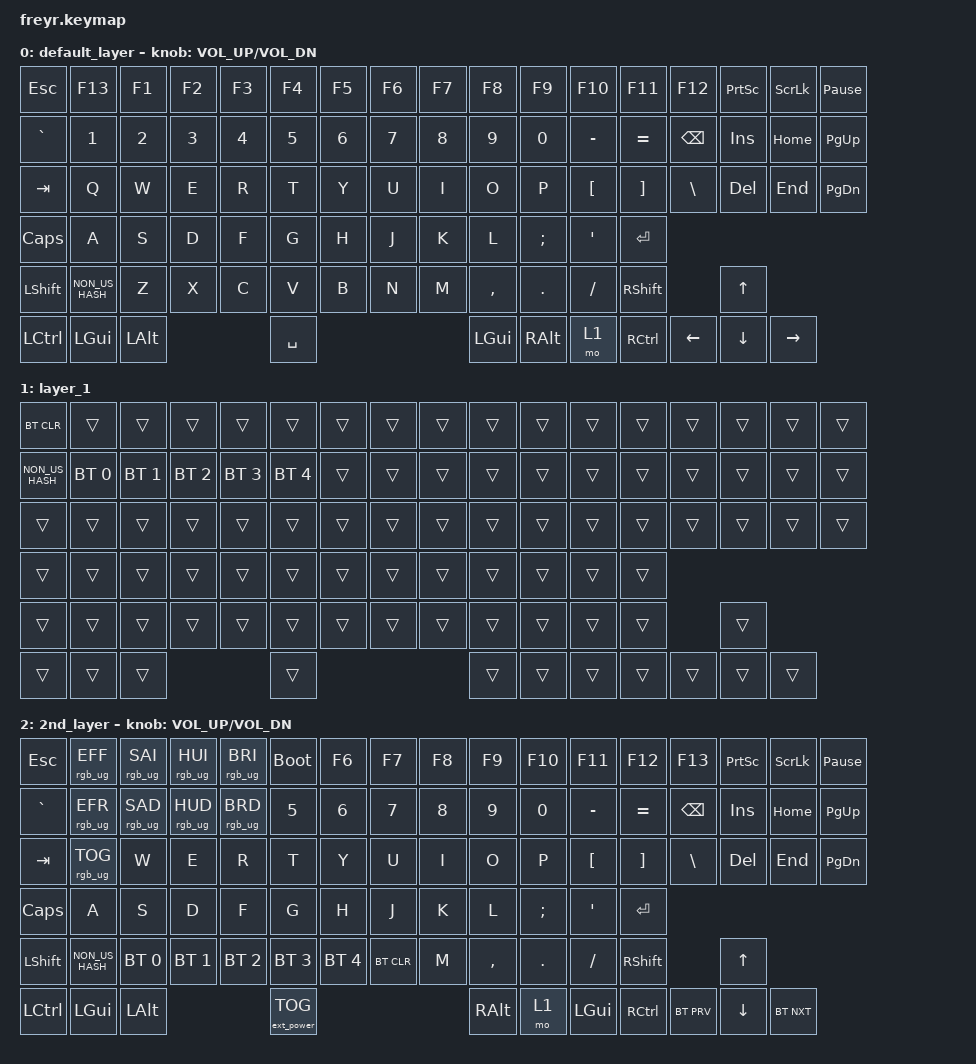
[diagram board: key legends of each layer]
/*
 * Copyright (c) 2021 Nick Winans
 *
 * SPDX-License-Identifier: MIT
 */

#include <behaviors.dtsi>
#include <dt-bindings/zmk/keys.h>
#include <dt-bindings/zmk/bt.h>
#include <dt-bindings/zmk/rgb.h>
#include <dt-bindings/zmk/ext_power.h>

/ {
    keymap {
        compatible = "zmk,keymap";

        default_layer {
            // ------------------------------------------------------------------------------------------
            // | ESC |  1  |  2  |  3  |  4  |  5  |  6  |  7  |  8  |  9  |  0  |  -  |  =  | BSPC |DEL|
            // | TAB  |  Q  |  W  |  E  |  R  |  T  |  Y  |  U  |  I  |  O  |  P  |  [  |  ]  |   "|"   |
            // | CAPS  |  A  |  S  |  D  |  F  |  G  |  H  |  J  |  K  |  L  |  ;  |  '  |     ENTER    |
            // |  SHIFT  |  Z  |  X  |  C  |  V  |  B  |  N  |  M  |  ,  |  .  |  /  |      SHIFT       |
            // |  CTL  |  WIN  |  ALT  |            SPACE              |  ALT  |  WIN  |  MO(1) |  CTL  |
            // ------------------------------------------------------------------------------------------

            bindings = <
  &kp ESC     &kp F13        &kp F1    &kp F2  &kp F3  &kp F4  &kp F5     &kp F6  &kp F7  &kp F8     &kp F9   &kp F10    &kp F11    &kp F12    &kp PSCRN  &kp SLCK  &kp PAUSE_BREAK
&kp GRAVE           &kp N1    &kp N2  &kp N3  &kp N4  &kp N5     &kp N6  &kp N7  &kp N8     &kp N9    &kp N0  &kp MINUS  &kp EQUAL   &kp BSPC    &kp INS  &kp HOME        &kp PG_UP
  &kp TAB            &kp Q     &kp W   &kp E   &kp R   &kp T      &kp Y   &kp U   &kp I      &kp O     &kp P   &kp LBKT   &kp RBKT   &kp BSLH    &kp DEL   &kp END        &kp PG_DN
 &kp CAPS            &kp A     &kp S   &kp D   &kp F   &kp G      &kp H   &kp J   &kp K      &kp L  &kp SEMI    &kp SQT    &kp RET
&kp LSHFT  &kp NON_US_HASH     &kp Z   &kp X   &kp C   &kp V      &kp B   &kp N   &kp M  &kp COMMA   &kp DOT   &kp FSLH  &kp RSHFT                          &kp UP
&kp LCTRL         &kp LGUI  &kp LALT                          &kp SPACE                            &kp LGUI    &kp RALT      &mo 1  &kp RCTRL   &kp LEFT  &kp DOWN        &kp RIGHT
            >;

            sensor-bindings = <&inc_dec_kp C_VOL_UP C_VOL_DN>;
        };

        layer_1 {
            bindings = <
&bt BT_CLR  &trans  &trans  &trans  &trans  &trans  &trans  &trans  &trans  &trans  &trans  &trans  &trans  &trans  &trans  &trans  &trans
&kp NON_US_HASH &bt BT_SEL 0    &bt BT_SEL 1    &bt BT_SEL 2    &bt BT_SEL 3  &bt BT_SEL 4  &trans  &trans  &trans  &trans  &trans  &trans  &trans  &trans  &trans  &trans  &trans
&trans  &trans  &trans  &trans  &trans  &trans  &trans  &trans  &trans  &trans  &trans  &trans  &trans  &trans  &trans  &trans  &trans
&trans  &trans  &trans  &trans  &trans  &trans  &trans  &trans  &trans  &trans  &trans  &trans  &trans
&trans  &trans  &trans  &trans  &trans  &trans  &trans  &trans  &trans  &trans  &trans  &trans  &trans                  &trans
&trans  &trans  &trans                          &trans                          &trans  &trans  &trans  &trans  &trans  &trans  &trans
            >;
        };

        2nd_layer {

        // ------------------------------------------------------------------------------------------
        // | boot | BT CLR | BT1 | BT2 | BT3 | BT4 | BT5 | TRNS | TRNS | TRNS | TRNS | TRNS | TRNS |  TRNS  |
        // | TRNS | TRNS |  UP  | TRNS | TRNS | TRNS | TRNS | TRNS | TRNS | TRNS | TRNS | TRNS | TRNS | TRNS |
        // | TRNS | LEFT | DOWN | RGHT | TRNS | TRNS | TRNS | TRNS | TRNS | TRNS | TRNS | TRNS | TRNS |
        // | TRNS | TRNS | TRNS | TRNS | TRNS | TRNS | TRNS | TRNS | TRNS | TRNS | TRNS | TRNS |
        // | TRNS  | TRNS  |  TRNS |             TRNS              | TRNS  |  TRNS |  TRNS | TRNS  |
        // ------------------------------------------------------------------------------------------

        bindings = <
    &kp ESC        &rgb_ug RGB_EFF &rgb_ug RGB_SAI &rgb_ug RGB_HUI &rgb_ug RGB_BRI &bootloader   &kp F6       &kp F7          &kp F8    &kp F9    &kp F10    &kp F11    &kp F12   &kp F13    &kp PSCRN  &kp SLCK &kp PAUSE_BREAK 
	&kp GRAVE      &rgb_ug RGB_EFR &rgb_ug RGB_SAD &rgb_ug RGB_HUD &rgb_ug RGB_BRD &kp N5        &kp N6       &kp N7          &kp N8    &kp N9    &kp N0     &kp MINUS  &kp EQUAL &kp BSPC   &kp INS    &kp HOME &kp PG_UP 
	&kp TAB        &rgb_ug RGB_TOG &kp W           &kp E           &kp R           &kp T         &kp Y        &kp U           &kp I     &kp O     &kp P      &kp LBKT   &kp RBKT  &kp BSLH   &kp DEL    &kp END  &kp PG_DN
	&kp CAPS       &kp A           &kp S           &kp D           &kp F           &kp G         &kp H        &kp J           &kp K     &kp L     &kp SEMI   &kp SQT    &kp RET             
	&kp LSHFT      &kp NON_US_HASH &bt BT_SEL 0    &bt BT_SEL 1    &bt BT_SEL 2    &bt BT_SEL 3  &bt BT_SEL 4 &bt BT_CLR      &kp M     &kp COMMA &kp DOT    &kp FSLH   &kp RSHFT            &kp UP 
	&kp LCTRL      &kp LGUI	       &kp LALT                                        &ext_power EP_TOG                                    &kp RALT  &mo 1      &kp LGUI   &kp RCTRL &bt BT_PRV &kp DOWN   &bt BT_NXT 
        >;

        sensor-bindings = <&inc_dec_kp C_VOL_UP C_VOL_DN>;
    };
};

};
